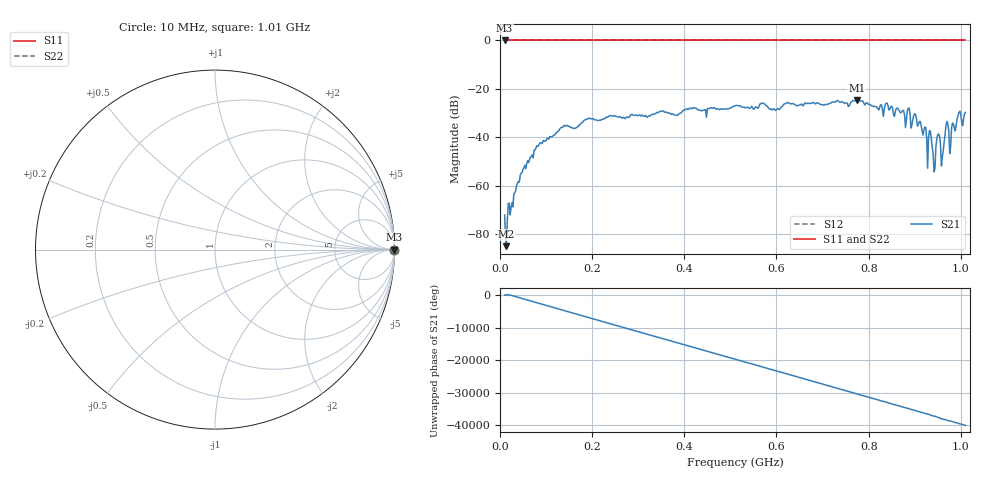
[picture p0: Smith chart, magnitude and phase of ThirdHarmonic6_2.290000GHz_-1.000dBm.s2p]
! 8/17/2025 3:02:08 AM
! C:\ANRITSUVNA\TEMP\TEMP.S2P
! CHANNEL.1
! TR.MEASUREMENT
! RAW.DATA
! RF.CORRECTION.OFF
! AVERAGING.OFF
! IF.BANDWIDTH: 5KHZ
! SWEEPTYPE:  FREQ.SWEEP(Linear)
! Reference Plane Port Info
! PORT:  PORT1  PORT2
! DISTANCE:  0  m  0  m
! TIME:  0  s  0  s
! PHASE.OFFSET:  0  deg.  0  deg.
! LOSS:  0  dB  0  dB
! REF.LOSS:  0  dB  0  dB
! REF.FREQ:  0  Hz  0  Hz
! Power Info
! POWER:  -20  dBm  -20  dBm
! EFF.POWER:  -20  dBm  -20  dBm
! SOURCE.ATTEN:  0  dB  0  dB
! TEST.ATTEN:  0  dB  0  dB
# GHZ S RI R 50.0
! FREQ.GHZ  S11RE  S11IM  S21RE  S21IM  S12RE  S12IM  S22RE  S22IM
!; PortSelection: Port_12
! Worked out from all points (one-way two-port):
!   501 points, 10 MHz to 1.01 GHz, reference 50 ohm
!   highest |S21| = -24.63 dB at 774 MHz (marker M1); lowest = -85.1 dB at 14 MHz (marker M2)
!   lowest |S11| = 0.0 dB at 10 MHz (marker M3)
!   |S11| at or under -10 dB: nowhere
!   |S22| runs from 0.0 to 0.0 dB; largest |S21 - S12| = 1.1
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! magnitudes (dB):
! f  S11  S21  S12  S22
! 10 MHz  0.0  -72.2  0.0  0.0
! 14 MHz  0.0  -85.1  0.0  0.0
! 48 MHz  0.0  -54.6  0.0  0.0
! 78 MHz  0.0  -44.5  0.0  0.0
! 136 MHz  0.0  -35.9  0.0  0.0
! 178 MHz  0.0  -34.0  0.0  0.0
! 344 MHz  0.0  -29.8  0.0  0.0
! 510 MHz  0.0  -27.0  0.0  0.0
! 594 MHz  0.0  -28.3  0.0  0.0
! 678 MHz  0.0  -25.8  0.0  0.0
! 774 MHz  0.0  -24.6  0.0  0.0
! 844 MHz  0.0  -28.8  0.0  0.0
! 900 MHz  0.0  -30.2  0.0  0.0
! 926 MHz  0.0  -40.5  0.0  0.0
! 934 MHz  0.0  -37.5  0.0  0.0
! 942 MHz  0.0  -54.3  0.0  0.0
! 950 MHz  0.0  -39.0  0.0  0.0
! 960 MHz  0.0  -48.1  0.0  0.0
! 970 MHz  0.0  -33.5  0.0  0.0
! 978 MHz  0.0  -44.0  0.0  0.0
! 996 MHz  0.0  -29.8  0.0  0.0
! 1.01 GHz  0.0  -29.8  0.0  0.0
